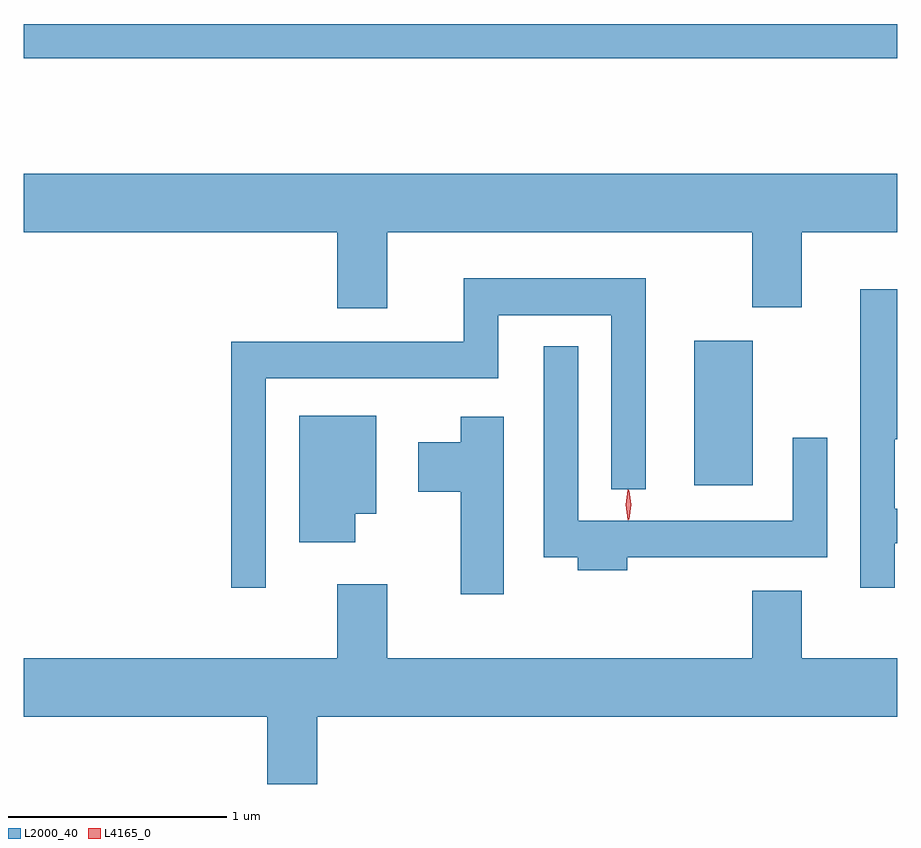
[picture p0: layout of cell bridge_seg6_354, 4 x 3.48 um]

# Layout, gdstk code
import gdstk
lib = gdstk.Library(unit=1e-6, precision=1e-09)
def R(c, l, rs):  # rectangles x0, y0, x1, y1
    for r in rs: c.add(gdstk.rectangle(r[:2], r[2:], *l))
def P(c, l, *ps):  # polygons
    for p in ps: c.add(gdstk.Polygon(p, *l))
L2000_40 = (2000, 40)
L4165_0 = (4165, 0)

bridge_seg6_354 = lib.new_cell('bridge_seg6_354')
R(bridge_seg6_354, L2000_40, [(1329.326,1562.196,1329.594,1562.859), (1326.255,1564.151,1330.255,1564.309)])
P(bridge_seg6_354, L2000_40, [(1327.919,1563.356),(1329.591,1563.356),(1329.591,1563.011),(1329.819,1563.011),(1329.819,1563.356),(1330.255,1563.356),(1330.255,1563.624),(1326.255,1563.624),(1326.255,1563.356),(1327.691,1563.356),(1327.691,1563.006),(1327.919,1563.006)],
  [(1327.364,1562.686),(1328.429,1562.686),(1328.429,1562.976),(1328.946,1562.976),(1328.946,1562.178),(1329.104,1562.178),(1329.104,1563.144),(1328.271,1563.144),(1328.271,1562.854),(1327.206,1562.854),(1327.206,1561.728),(1327.364,1561.728)],
  [(1330.244,1561.931),(1330.255,1561.931),(1330.255,1562.089),(1330.244,1562.089),(1330.244,1562.406),(1330.255,1562.406),(1330.255,1563.094),(1330.086,1563.094),(1330.086,1561.728),(1330.244,1561.728)],
  [(1329.019,1561.866),(1329.934,1561.866),(1329.934,1562.413),(1329.776,1562.413),(1329.776,1562.034),(1328.794,1562.034),(1328.794,1562.833),(1328.636,1562.833),(1328.636,1561.866),(1328.791,1561.866),(1328.791,1561.806),(1329.019,1561.806)],
  [(1327.774,1562.066),(1327.869,1562.066),(1327.869,1562.514),(1327.516,1562.514),(1327.516,1561.936),(1327.774,1561.936)],
  [(1328.454,1562.509),(1328.256,1562.509),(1328.256,1562.394),(1328.061,1562.394),(1328.061,1562.166),(1328.256,1562.166),(1328.256,1561.696),(1328.454,1561.696)],
  [(1327.599,1561.136),(1330.255,1561.136),(1330.255,1561.404),(1329.819,1561.404),(1329.819,1561.714),(1329.591,1561.714),(1329.591,1561.404),(1327.919,1561.404),(1327.919,1561.744),(1327.691,1561.744),(1327.691,1561.404),(1326.255,1561.404),(1326.255,1561.136),(1327.371,1561.136),(1327.371,1560.828),(1327.599,1560.828)])
P(bridge_seg6_354, L4165_0, [(1329.023,1562.037),(1329.022,1562.038),(1329.013,1562.107),(1329.022,1562.176),(1329.023,1562.176),(1329.023,1562.176),(1329.033,1562.107),(1329.023,1562.038)],
  [(1329.026,1562.04),(1329.026,1562.04),(1329.016,1562.106),(1329.026,1562.172),(1329.026,1562.173),(1329.027,1562.172),(1329.036,1562.106),(1329.027,1562.04)])

lib.write_gds('bridge_seg6_354.gds')
